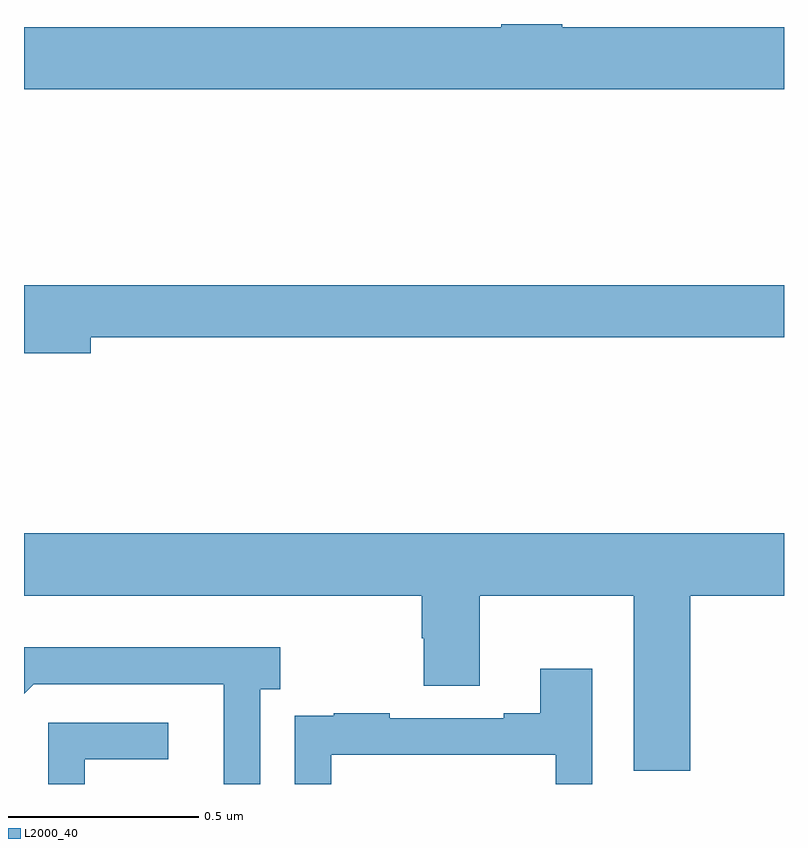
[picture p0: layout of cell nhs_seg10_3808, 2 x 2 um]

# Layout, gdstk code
import gdstk
lib = gdstk.Library(unit=1e-6, precision=1e-09)
def P(c, l, *ps):  # polygons
    for p in ps: c.add(gdstk.Polygon(p, *l))
L2000_40 = (2000, 40)

nhs_seg10_3808 = lib.new_cell('nhs_seg10_3808')
P(nhs_seg10_3808, L2000_40, [(160,1288.492),(159.416,1288.492),(159.416,1288.5),(159.256,1288.5),(159.256,1288.492),(158,1288.492),(158,1288.328),(160,1288.328)],
  [(158.176,1287.676),(160,1287.676),(160,1287.812),(158,1287.812),(158,1287.634),(158.176,1287.634)],
  [(159.753,1286.996),(160,1286.996),(160,1287.16),(158,1287.16),(158,1286.996),(159.047,1286.996),(159.047,1286.883),(159.052,1286.883),(159.052,1286.758),(159.199,1286.758),(159.199,1286.996),(159.605,1286.996),(159.605,1286.535),(159.753,1286.535)],
  [(158.622,1286.75),(158.674,1286.75),(158.674,1286.86),(158,1286.86),(158,1286.738),(158.025,1286.763),(158.525,1286.763),(158.525,1286.563),(158.526,1286.563),(158.526,1286.5),(158.622,1286.5)],
  [(158.808,1286.577),(159.399,1286.577),(159.399,1286.5),(159.495,1286.5),(159.495,1286.803),(159.359,1286.803),(159.359,1286.686),(159.263,1286.686),(159.263,1286.673),(158.963,1286.673),(158.963,1286.686),(158.815,1286.686),(158.815,1286.679),(158.713,1286.679),(158.713,1286.57),(158.712,1286.57),(158.712,1286.5),(158.808,1286.5)],
  [(158.16,1286.565),(158.38,1286.565),(158.38,1286.661),(158.064,1286.661),(158.064,1286.5),(158.16,1286.5)])

lib.write_gds('nhs_seg10_3808.gds')
